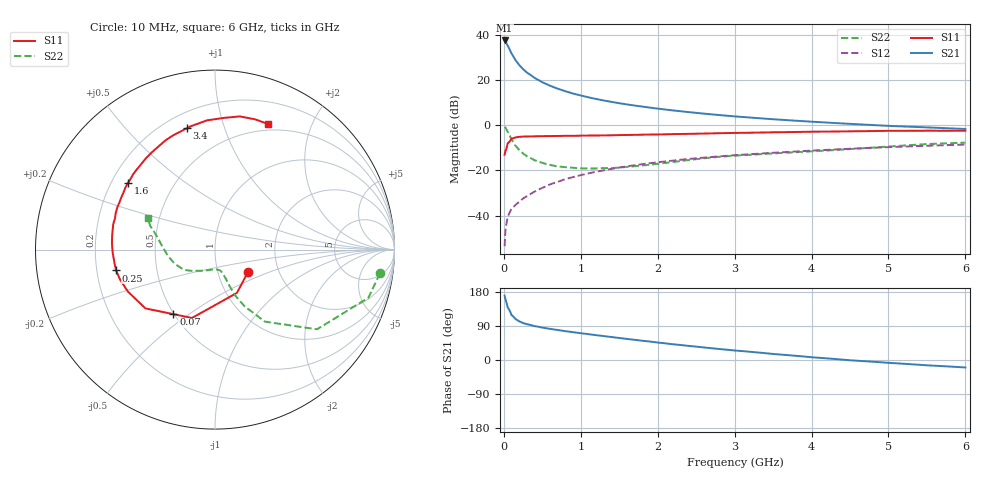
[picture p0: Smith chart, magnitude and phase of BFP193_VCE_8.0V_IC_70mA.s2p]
! Infineon Technologies  Discrete & RF Semiconductors
! BFP193
! VCE =  8.0 V,  IC =  70 mA
! Common Emitter S-Parameters:  Jan 2017
# GHz  S  MA  R  50
!  f  S11  S21  S12  S22
! GHz  MAG  ANG  MAG  ANG  MAG  ANG  MAG  ANG
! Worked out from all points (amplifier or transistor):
!   77 points, 10 MHz to 6 GHz, reference 50 ohm
!   highest |S21| = 37.6 dB at 10 MHz (marker M1)
!   |S21| within 3 dB of that: start of sweep to 61.33 MHz
!   unconditionally stable (mu >= 1): 463.4 MHz to 2.496 GHz
!   at 130 MHz: K = 0.65, MSG = 33.1 dB, |S12| = -36.0 dB
!   at 2.2 GHz: K = 1.01, MAG = 10.4 dB, |S12| = -15.6 dB
!   at 6 GHz: K = 0.92, MSG = 3.4 dB, |S12| = -8.5 dB
!   S11 on the Smith chart (normalised r, x): 10 MHz: 1.39, -0.37; 70 MHz: 0.50, -0.44; 250 MHz: 0.28, -0.10; 1.6 GHz: 0.27, +0.32; 3.4 GHz: 0.29, +0.75; 6 GHz: 0.43, +1.42
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0.01  0.2225 -34.5  75.8 169.8  0.0021 87.2  0.9285 -8.2
0.02  0.2704 -63.1  73.69 160.8  0.0045 79.8  0.8955 -17.5
0.05  0.4019 -108.6  58.57 138.7  0.0092 65.2  0.7211 -38.0
0.07  0.4279 -122.8  50.06 132.5  0.0112 62.4  0.6216 -43.4
0.1  0.5076 -139.8  38.97 118.5  0.0142 59.7  0.4877 -55.3
0.15  0.5388 -154.3  28 108.4  0.0171 60.2  0.3572 -62.4
0.2  0.5545 -162.4  21.64 102.1  0.0203 62.9  0.2845 -66.0
0.25  0.563 -168.1  17.58 97.5  0.0239 63.8  0.2381 -67.5
0.3  0.565 -172.2  14.74 94.5  0.0269 65.2  0.2061 -68.7
0.4  0.5702 -178.3  11.21 89.4  0.034 67.7  0.1683 -69.9
0.5  0.575 176.7  9.001 85.5  0.0411 68.9  0.147 -71.5
0.6  0.5782 172.7  7.547 82.1  0.0492 69.1  0.1325 -73.3
0.7  0.5803 169.4  6.478 79.2  0.0559 69.8  0.1226 -74.8
0.9  0.5839 162.6  5.054 73.4  0.0713 69.0  0.1146 -80.7
1.1  0.5931 156.6  4.168 68.2  0.0861 67.6  0.1106 -86.8
1.6  0.6103 142.5  2.902 55.6  0.1234 62.5  0.1197 -106.8
2.1  0.632 129.5  2.236 43.9  0.1585 56.5  0.147 -126.6
3.1  0.681 108.4  1.53 23.5  0.2228 44.0  0.2175 -152.8
3.4  0.6943 103.0  1.402 18.0  0.2403 40.6  0.233 -159.1
4.1  0.7233 92.0  1.176 5.8  0.2804 32.3  0.2706 -175.2
5.1  0.7549 78.2  0.956 -8.7  0.3331 20.6  0.3471 164.7
6  0.7598 67.1  0.829 -19.7  0.3748 10.4  0.4134 155.0
